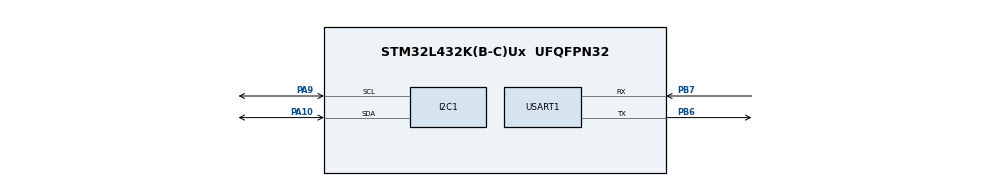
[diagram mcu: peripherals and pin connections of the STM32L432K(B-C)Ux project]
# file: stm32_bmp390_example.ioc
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FREERTOS.Mutexes01=i2c1_mutex,Dynamic,NULL,Available
FREERTOS.Tasks01=defaultTask,24,128,StartDefaultTask,Default,NULL,Dynamic,NULL,NULL
FREERTOS.configUSE_NEWLIB_REENTRANT=1
I2C1.Timing=0x00100D14
Mcu.Family=STM32L4
Mcu.Name=STM32L432K(B-C)Ux
Mcu.Package=UFQFPN32
NVIC.PriorityGroup=NVIC_PRIORITYGROUP_4
PA10.Mode=I2C
PA10.Signal=I2C1_SDA
PA9.Mode=I2C
PA9.Signal=I2C1_SCL
PB6.Mode=Asynchronous
PB6.Signal=USART1_TX
PB7.Mode=Asynchronous
PB7.Signal=USART1_RX
ProjectManager.HeapSize=0x200
ProjectManager.StackSize=0x400
ProjectManager.TargetToolchain=STM32CubeIDE
RCC.HSE_VALUE=8000000
RCC.HSI48_VALUE=48000000
RCC.HSI_VALUE=16000000
RCC.LSE_VALUE=32768
RCC.MSI_VALUE=4000000
RCC.VCOOutputFreq_Value=32000000
USART1.VirtualMode-Asynchronous=VM_ASYNC
VP_FREERTOS_VS_CMSIS_V2.Mode=CMSIS_V2
board=custom

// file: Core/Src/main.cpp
/* USER CODE BEGIN Header */
/**
  ******************************************************************************
  * @file           : main.c
  * @brief          : Main program body
  ******************************************************************************
  * @attention
  *
  * Copyright (c) 2026 STMicroelectronics.
  * All rights reserved.
  *
  * This software is licensed under terms that can be found in the LICENSE file
  * in the root directory of this software component.
  * If no LICENSE file comes with this software, it is provided AS-IS.
  *
  ******************************************************************************
  */
/* USER CODE END Header */
#include "main.h"
#include "cmsis_os.h"

/* USER CODE BEGIN Includes */
#include <math.h>
#include <stdio.h>
#include <string.h>

//#define _USE_BMP390
#ifdef _USE_BMP390
	#include "bmp390.h"
#endif
/* USER CODE END Includes */

I2C_HandleTypeDef hi2c1;

UART_HandleTypeDef huart1;

/* Definitions for defaultTask */
osThreadId_t defaultTaskHandle;
const osThreadAttr_t defaultTask_attributes = {
  .name = "defaultTask",
  .stack_size = 128 * 4,
  .priority = (osPriority_t) osPriorityNormal,
};
/* Definitions for i2c1_mutex */
osMutexId_t i2c1_mutexHandle;
const osMutexAttr_t i2c1_mutex_attributes = {
  .name = "i2c1_mutex"
};
/* USER CODE BEGIN PV */
float t,h;
double temperature,humidity;
double PressureOffset=0.10;
double p,pressure;
uint8_t charBuffer[255];

#ifdef _USE_BMP390
	using namespace BMP390;
	bmp390_param_t bmp390_param = {
			._hi2c=&hi2c1,
			._DevAddress =bmp280_i2c_addr_2,
			._osrs_p_t = bmp280_osrs_p_1x,
			._osrs_t_t = bmp280_osrs_t_1x,
			._mode_t =bmp280_forced_mode,
			._t_sb = bmp280_sb_125,
			._filter_t = bmp280_filter_off

	};
	double bmp390_pressure, bmp390_temp;
	BMP390::bmp390i2c bmp390_sensor(bmp390_param);
#endif
/* USER CODE END PV */

void SystemClock_Config(void);
static void MX_GPIO_Init(void);
static void MX_I2C1_Init(void);
static void MX_USART1_UART_Init(void);
void StartDefaultTask(void *argument);

int main(void)
{

  /* MCU Configuration--------------------------------------------------------*/

  /* Reset of all peripherals, Initializes the Flash interface and the Systick. */
  HAL_Init();

  /* Configure the system clock */
  SystemClock_Config();

  /* Initialize all configured peripherals */
  MX_GPIO_Init();
  MX_I2C1_Init();
  MX_USART1_UART_Init();

  /* Init scheduler */
  osKernelInitialize();
  /* Create the mutex(es) */
  /* creation of i2c1_mutex */
  i2c1_mutexHandle = osMutexNew(&i2c1_mutex_attributes);

  /* Create the thread(s) */
  /* creation of defaultTask */
  defaultTaskHandle = osThreadNew(StartDefaultTask, NULL, &defaultTask_attributes);

  /* Start scheduler */
  osKernelStart();

  /* We should never get here as control is now taken by the scheduler */

  /* Infinite loop */
  while (1)
  {

  }
}

void SystemClock_Config(void)
{
  RCC_OscInitTypeDef RCC_OscInitStruct = {0};
  RCC_ClkInitTypeDef RCC_ClkInitStruct = {0};

  /** Configure the main internal regulator output voltage
  */
  if (HAL_PWREx_ControlVoltageScaling(PWR_REGULATOR_VOLTAGE_SCALE1) != HAL_OK)
  {
    Error_Handler();
  }

  /** Initializes the RCC Oscillators according to the specified parameters
  * in the RCC_OscInitTypeDef structure.
  */
  RCC_OscInitStruct.OscillatorType = RCC_OSCILLATORTYPE_MSI;
  RCC_OscInitStruct.MSIState = RCC_MSI_ON;
  RCC_OscInitStruct.MSICalibrationValue = 0;
  RCC_OscInitStruct.MSIClockRange = RCC_MSIRANGE_6;
  RCC_OscInitStruct.PLL.PLLState = RCC_PLL_NONE;
  if (HAL_RCC_OscConfig(&RCC_OscInitStruct) != HAL_OK)
  {
    Error_Handler();
  }

  /** Initializes the CPU, AHB and APB buses clocks
  */
  RCC_ClkInitStruct.ClockType = RCC_CLOCKTYPE_HCLK|RCC_CLOCKTYPE_SYSCLK
                              |RCC_CLOCKTYPE_PCLK1|RCC_CLOCKTYPE_PCLK2;
  RCC_ClkInitStruct.SYSCLKSource = RCC_SYSCLKSOURCE_MSI;
  RCC_ClkInitStruct.AHBCLKDivider = RCC_SYSCLK_DIV1;
  RCC_ClkInitStruct.APB1CLKDivider = RCC_HCLK_DIV1;
  RCC_ClkInitStruct.APB2CLKDivider = RCC_HCLK_DIV1;

  if (HAL_RCC_ClockConfig(&RCC_ClkInitStruct, FLASH_LATENCY_0) != HAL_OK)
  {
    Error_Handler();
  }
}

static void MX_I2C1_Init(void)
{

  hi2c1.Instance = I2C1;
  hi2c1.Init.Timing = 0x00100D14;
  hi2c1.Init.OwnAddress1 = 0;
  hi2c1.Init.AddressingMode = I2C_ADDRESSINGMODE_7BIT;
  hi2c1.Init.DualAddressMode = I2C_DUALADDRESS_DISABLE;
  hi2c1.Init.OwnAddress2 = 0;
  hi2c1.Init.OwnAddress2Masks = I2C_OA2_NOMASK;
  hi2c1.Init.GeneralCallMode = I2C_GENERALCALL_DISABLE;
  hi2c1.Init.NoStretchMode = I2C_NOSTRETCH_DISABLE;
  if (HAL_I2C_Init(&hi2c1) != HAL_OK)
  {
    Error_Handler();
  }

  /** Configure Analogue filter
  */
  if (HAL_I2CEx_ConfigAnalogFilter(&hi2c1, I2C_ANALOGFILTER_ENABLE) != HAL_OK)
  {
    Error_Handler();
  }

  /** Configure Digital filter
  */
  if (HAL_I2CEx_ConfigDigitalFilter(&hi2c1, 0) != HAL_OK)
  {
    Error_Handler();
  }

}

static void MX_USART1_UART_Init(void)
{

  huart1.Instance = USART1;
  huart1.Init.BaudRate = 115200;
  huart1.Init.WordLength = UART_WORDLENGTH_8B;
  huart1.Init.StopBits = UART_STOPBITS_1;
  huart1.Init.Parity = UART_PARITY_NONE;
  huart1.Init.Mode = UART_MODE_TX_RX;
  huart1.Init.HwFlowCtl = UART_HWCONTROL_NONE;
  huart1.Init.OverSampling = UART_OVERSAMPLING_16;
  huart1.Init.OneBitSampling = UART_ONE_BIT_SAMPLE_DISABLE;
  huart1.AdvancedInit.AdvFeatureInit = UART_ADVFEATURE_NO_INIT;
  if (HAL_UART_Init(&huart1) != HAL_OK)
  {
    Error_Handler();
  }

}

static void MX_GPIO_Init(void)
{

  /* GPIO Ports Clock Enable */
  __HAL_RCC_GPIOA_CLK_ENABLE();
  __HAL_RCC_GPIOB_CLK_ENABLE();

}

void StartDefaultTask(void *argument)
{
  for(;;)
  {
    osDelay(1);
  }
}

void Error_Handler(void)
{
  __disable_irq();
  while (1)
  {
  }
}
